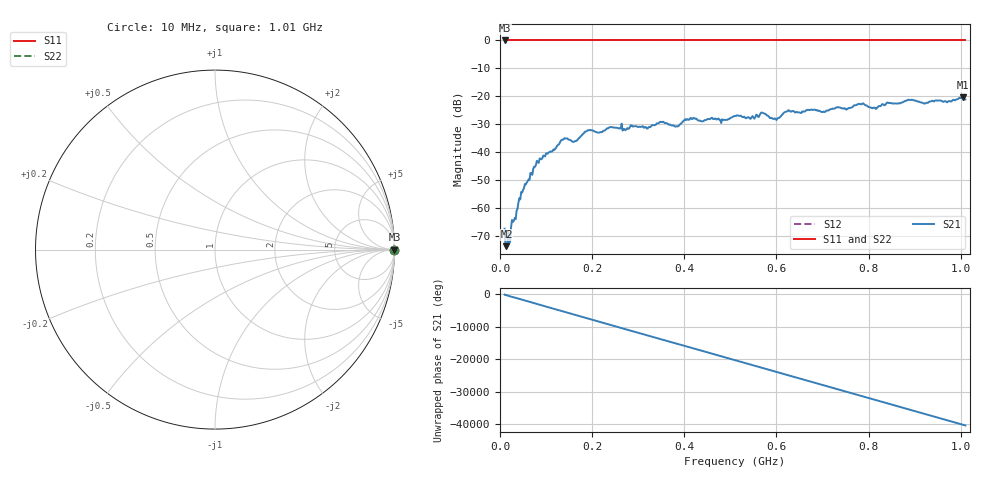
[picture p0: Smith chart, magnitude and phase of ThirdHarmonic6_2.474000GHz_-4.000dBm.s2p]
! 8/17/2025 4:34:11 AM
! C:\ANRITSUVNA\TEMP\TEMP.S2P
! CHANNEL.1
! TR.MEASUREMENT
! RAW.DATA
! RF.CORRECTION.OFF
! AVERAGING.OFF
! IF.BANDWIDTH: 5KHZ
! SWEEPTYPE:  FREQ.SWEEP(Linear)
! Reference Plane Port Info
! PORT:  PORT1  PORT2
! DISTANCE:  0  m  0  m
! TIME:  0  s  0  s
! PHASE.OFFSET:  0  deg.  0  deg.
! LOSS:  0  dB  0  dB
! REF.LOSS:  0  dB  0  dB
! REF.FREQ:  0  Hz  0  Hz
! Power Info
! POWER:  -20  dBm  -20  dBm
! EFF.POWER:  -20  dBm  -20  dBm
! SOURCE.ATTEN:  0  dB  0  dB
! TEST.ATTEN:  0  dB  0  dB
# GHZ S RI R 50.0
! FREQ.GHZ  S11RE  S11IM  S21RE  S21IM  S12RE  S12IM  S22RE  S22IM
!; PortSelection: Port_12
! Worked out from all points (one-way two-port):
!   501 points, 10 MHz to 1.01 GHz, reference 50 ohm
!   highest |S21| = -20.36 dB at 1.004 GHz (marker M1); lowest = -73.6 dB at 14 MHz (marker M2)
!   lowest |S11| = 0.0 dB at 10 MHz (marker M3)
!   |S11| at or under -10 dB: nowhere
!   |S22| runs from 0.0 to 0.0 dB; largest |S21 - S12| = 1.1
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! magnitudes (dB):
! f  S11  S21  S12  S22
! 10 MHz  0.0  -67.3  0.0  0.0
! 14 MHz  0.0  -73.6  0.0  0.0
! 18 MHz  0.0  -68.5  0.0  0.0
! 50 MHz  0.0  -53.5  0.0  0.0
! 78 MHz  0.0  -44.5  0.0  0.0
! 136 MHz  0.0  -35.5  0.0  0.0
! 162 MHz  0.0  -36.1  0.0  0.0
! 178 MHz  0.0  -33.8  0.0  0.0
! 344 MHz  0.0  -29.6  0.0  0.0
! 384 MHz  0.0  -30.7  0.0  0.0
! 416 MHz  0.0  -28.1  0.0  0.0
! 484 MHz  0.0  -28.5  0.0  0.0
! 510 MHz  0.0  -27.0  0.0  0.0
! 570 MHz  0.0  -25.9  0.0  0.0
! 598 MHz  0.0  -28.0  0.0  0.0
! 624 MHz  0.0  -25.3  0.0  0.0
! 678 MHz  0.0  -24.9  0.0  0.0
! 784 MHz  0.0  -22.8  0.0  0.0
! 814 MHz  0.0  -24.1  0.0  0.0
! 844 MHz  0.0  -22.4  0.0  0.0
! 1.004 GHz  0.0  -20.4  0.0  0.0
! 1.01 GHz  0.0  -21.1  0.0  0.0
